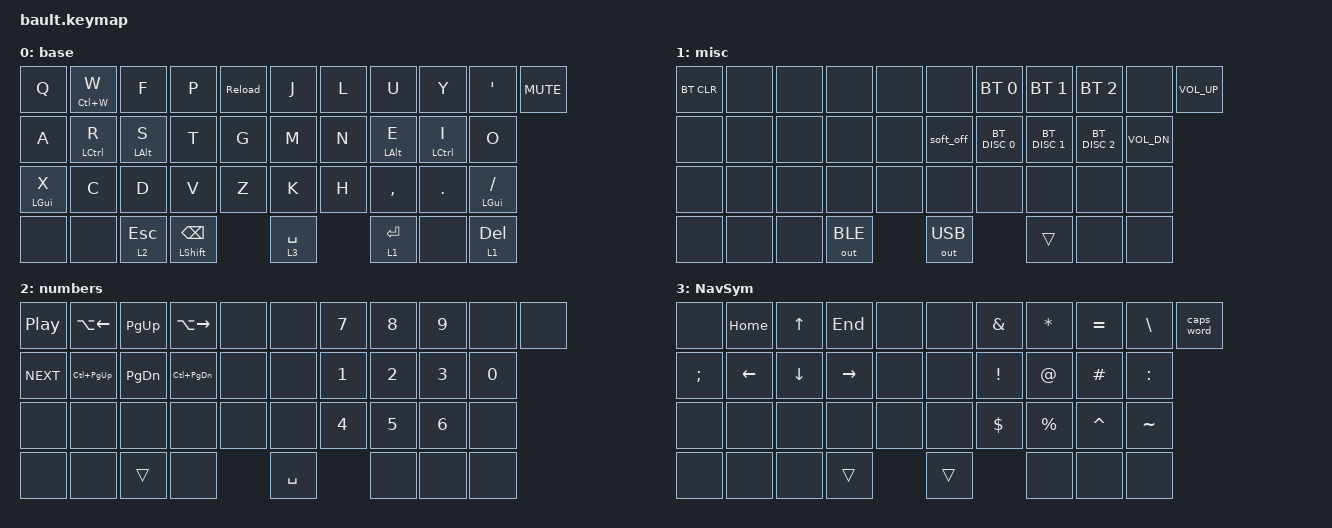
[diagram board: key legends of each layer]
#include <behaviors.dtsi>
#include <dt-bindings/zmk/bt.h>
#include <dt-bindings/zmk/keys.h>
#include <dt-bindings/zmk/outputs.h>

&lt {
};

/ {
    behaviors {
        hm: homerow_mods {
            compatible = "zmk,behavior-hold-tap";
            display-name = "Homerow Mods";
            bindings = <&kp>, <&kp>;

            #binding-cells = <2>;
            tapping-term-ms = <200>;
            quick-tap-ms = <180>;
            require-prior-idle-ms = <80>;
            flavor = "tap-preferred";
        };

        Reload: Reload {
            compatible = "zmk,behavior-mod-morph";
            label = "RELOAD";
            bindings = <&kp B>, <&kp R>;

            #binding-cells = <0>;
            mods = <(MOD_LCTL)>;
            keep-mods = <(MOD_LCTL)>;
        };
    };

    combos {
        compatible = "zmk,combos";

        Dash {
            bindings = <&kp MINUS>;
            key-positions = <29 28>;
            layers = <0 3>;
            require-prior-idle-ms = <80>;
        };

        Bootloader {
            bindings = <&bootloader>;
            key-positions = <21 25>;
            require-prior-idle-ms = <2000>;
        };

        DelBT {
            bindings = <&bt BT_CLR_ALL>;
            key-positions = <10 9>;
            require-prior-idle-ms = <300>;
        };

        Tab {
            bindings = <&kp TAB>;
            key-positions = <12 13 14>;
        };

        Enter {
            bindings = <&kp ENTER>;
            key-positions = <17 18 19>;
        };

        LParen {
            bindings = <&kp LEFT_PARENTHESIS>;
            key-positions = <1 2>;
        };

        RParen {
            bindings = <&kp RIGHT_PARENTHESIS>;
            key-positions = <7 8>;
        };

        WordLeft {
            bindings = <&kp LC(LEFT)>;
            key-positions = <12 13>;
            layers = <3>;
        };

        WordRight {
            bindings = <&kp LC(RIGHT)>;
            key-positions = <13 14>;
            layers = <3>;
        };
    };

    keymap {
        compatible = "zmk,keymap";

        base {
            bindings = <
&kp Q           &hm LC(W) W         &kp F           &kp P                     &Reload  &kp J        &kp L  &kp U           &kp Y               &kp APOS            &kp C_MUTE
&kp A           &hm LEFT_CONTROL R  &hm LEFT_ALT S  &kp T                     &kp G    &kp M        &kp N  &hm LEFT_ALT E  &hm LEFT_CONTROL I  &kp O
&hm LEFT_GUI X  &kp C               &kp D           &kp V                     &kp Z    &kp K        &kp H  &kp COMMA       &kp DOT             &hm LEFT_GUI SLASH
&none           &none               &lt 2 ESCAPE    &hm LEFT_SHIFT BACKSPACE           &lt 3 SPACE         &lt 1 ENTER     &none               &lt 1 DELETE
            >;
        };

        misc {
            bindings = <
&bt BT_CLR  &none  &none  &none         &none  &none         &bt BT_SEL 0   &bt BT_SEL 1   &bt BT_SEL 2   &none         &kp C_VOL_UP
&none       &none  &none  &none         &none  &soft_off     &bt BT_DISC 0  &bt BT_DISC 1  &bt BT_DISC 2  &kp C_VOL_DN
&none       &none  &none  &none         &none  &none         &none          &none          &none          &none
&none       &none  &none  &out OUT_BLE         &out OUT_USB                 &trans         &none          &none
            >;
        };

        numbers {
            bindings = <
&kp C_PLAY_PAUSE  &kp LA(LEFT)     &kp PAGE_UP    &kp LA(RIGHT)      &none  &none      &kp N7        &kp N8  &kp N9  &none   &none
&kp C_NEXT        &kp LC(PAGE_UP)  &kp PAGE_DOWN  &kp LC(PAGE_DOWN)  &none  &none      &kp NUMBER_1  &kp N2  &kp N3  &kp N0
&none             &none            &none          &none              &none  &none      &kp N4        &kp N5  &kp N6  &none
&none             &none            &trans         &none                     &kp SPACE                &none   &none   &none
            >;
        };

        NavSym {
            bindings = <
&none     &kp HOME  &kp UP_ARROW  &kp END    &none  &none   &kp AMPERSAND    &kp ASTERISK  &kp EQUAL  &kp BACKSLASH  &caps_word
&kp SEMI  &kp LEFT  &kp DOWN      &kp RIGHT  &none  &none   &kp EXCLAMATION  &kp AT_SIGN   &kp POUND  &kp COLON
&none     &none     &none         &none      &none  &none   &kp DOLLAR       &kp PERCENT   &kp CARET  &kp TILDE
&none     &none     &none         &trans            &trans                   &none         &none      &none
            >;
        };
    };
};
